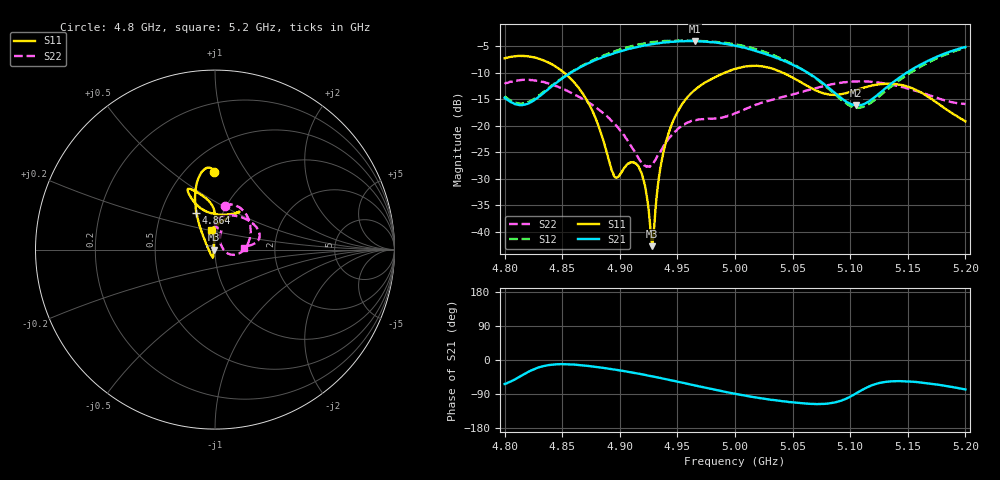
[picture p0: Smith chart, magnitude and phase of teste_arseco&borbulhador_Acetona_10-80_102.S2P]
! Network Analyzer HP8722D
! Hewlett-Packard
! Data name: Linha & Wilkinson
! Saver's name: Rodrigo Anjos
! Comments: Teste da utilização de aquisição
! continua pelo VNA HP8722D
! Time and date: 25/4/2025 16:07
!  Frequency  S11  S21  S12  S22
# HZ  S  MA R 50
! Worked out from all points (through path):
!   401 points, 4.8 GHz to 5.2 GHz, reference 50 ohm
!   highest |S21| = -3.97 dB at 4.965 GHz (marker M1); lowest = -16.1 dB at 5.105 GHz (marker M2)
!   lowest |S11| = -42.7 dB at 4.928 GHz (marker M3), VSWR 1.01, Z = 49.3 - j0.0652 ohm
!   |S11| at or under -10 dB: 4.852 GHz to 4.991 GHz (138.6 MHz wide, 2.82 % of centre); 5.042 GHz to end of sweep
!   |S22| runs from -27.7 to -11.3 dB; largest |S21 - S12| = 1.2
!   S11 on the Smith chart (normalised r, x): 4.8 GHz: 0.68, +0.73; 4.864 GHz: 0.75, +0.33; 5.2 GHz: 0.94, +0.21
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4.8e9  0.4345 90.6  0.1847 -63.4  0.1903 70.0  0.2498 76.9
4.82e9  0.4526 96.9  0.1617 -32.1  0.1678 98.8  0.272 61.5
4.864e9  0.2311 116.8  0.3502 -13.0  0.3538 121.0  0.1893 11.7
4.867e9  0.2078 118.4  0.3643 -14.0  0.3688 120.7  0.1824 8.3
4.88e9  0.1108 128.7  0.4243 -18.5  0.4342 118.1  0.1475 -5.5
4.895e9  0.03355 -172.2  0.486 -25.0  0.5039 113.7  0.1064 -15.7
4.91e9  0.04561 -106.4  0.5397 -32.7  0.5645 107.0  0.06421 -13.8
4.917e9  0.03971 -104.0  0.5615 -36.4  0.5886 103.4  0.04796 -0.7
4.922e9  0.02698 -108.1  0.5772 -39.4  0.6042 100.6  0.04229 17.0
4.928e9  0.007347 -174.8  0.5908 -43.0  0.6185 96.8  0.04414 41.3
4.93e9  0.01169 124.8  0.5958 -44.3  0.6212 95.6  0.04632 48.7
4.934e9  0.03292 100.8  0.6025 -47.0  0.6295 93.1  0.05515 58.6
4.939e9  0.06354 93.4  0.6142 -50.0  0.6348 89.9  0.06691 66.1
4.946e9  0.1095 89.9  0.6228 -54.6  0.6394 85.5  0.08437 70.1
4.965e9  0.2185 91.0  0.633 -67.1  0.6371 73.3  0.1142 71.5
5e9  0.3451 109.1  0.5722 -89.1  0.5914 50.6  0.1319 88.1
5.031e9  0.3506 115.1  0.4604 -104.7  0.4764 33.3  0.1755 84.4
5.067e9  0.226 105.4  0.2997 -115.8  0.2969 23.7  0.2224 57.0
5.105e9  0.2188 65.2  0.1562 -88.3  0.1485 54.8  0.2631 25.4
5.134e9  0.2507 57.1  0.242 -56.6  0.228 88.7  0.2479 12.2
5.169e9  0.1844 69.8  0.4195 -62.1  0.4029 84.7  0.1943 6.8
5.2e9  0.1106 100.7  0.556 -77.7  0.5462 70.1  0.1612 3.7
